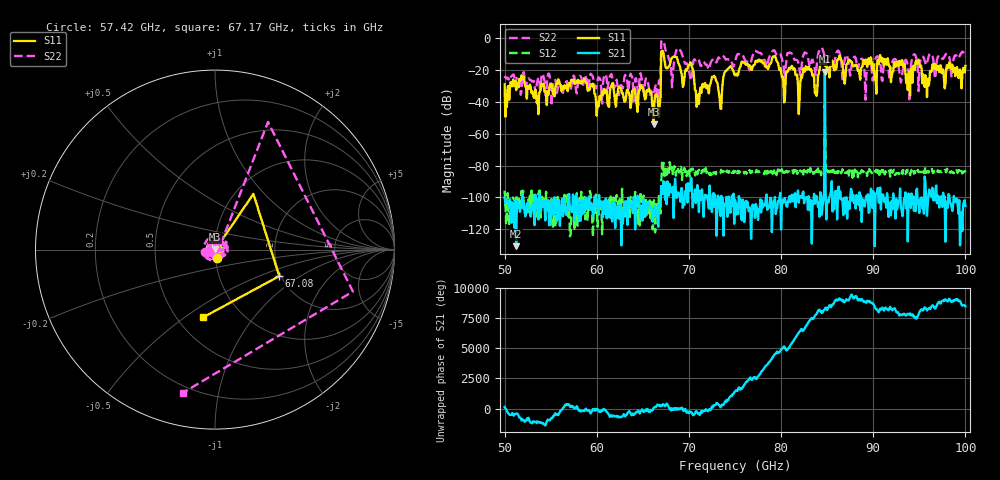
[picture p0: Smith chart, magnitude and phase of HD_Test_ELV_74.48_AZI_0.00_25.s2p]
! 11/25/2026 9:19:33 AM
! C:\ANRITSUVNA\TEMP\TEMP.S2P
! CHANNEL.1
! TR.MEASUREMENT
! RAW.DATA
# HZ S RI R 50.0
! FREQ.HZ  S11RE  S11IM  S21RE  S21IM  S12RE  S12IM  S22RE  S22IM
!; PortSelection: Port_12
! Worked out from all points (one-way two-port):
!   601 points, 50 GHz to 100 GHz, reference 50 ohm
!   highest |S21| = -21.29 dB at 84.75 GHz (marker M1); lowest = -130.5 dB at 51.25 GHz (marker M2)
!   lowest |S11| = -54.3 dB at 66.17 GHz (marker M3), VSWR 1.00, Z = 50.1 + j0.152 ohm
!   |S11| at or under -10 dB: start of sweep to 67 GHz; 67.24 GHz to end of sweep
!   |S22| runs from -42.6 to -1.8 dB; largest |S21 - S12| = 0.078
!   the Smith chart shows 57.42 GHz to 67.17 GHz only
!   S11 on the Smith chart (normalised r, x): 57.42 GHz: 1.02, -0.09; 67.08 GHz: 1.96, -0.68; 67.17 GHz: 0.67, -0.59
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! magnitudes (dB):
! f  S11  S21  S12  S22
! 50 GHz  -29.2  -100.0  -95.7  -25.4
! 51.25 GHz  -32.8  -130.5  -98.9  -27.1
! 57.42 GHz  -26.3  -98.1  -105.3  -25.2
! 58.42 GHz  -27.2  -110.6  -101.7  -29.0
! 60.17 GHz  -43.2  -111.0  -101.3  -24.8
! 61.67 GHz  -28.7  -115.0  -103.8  -24.5
! 66.17 GHz  -54.3  -108.3  -102.6  -35.4
! 66.67 GHz  -41.9  -118.3  -112.2  -32.1
! 67.08 GHz  -8.2  -95.2  -78.2  -1.9
! 67.17 GHz  -8.3  -97.8  -82.6  -1.8
! 70.17 GHz  -15.5  -94.5  -83.4  -25.7
! 70.92 GHz  -40.7  -92.3  -85.6  -13.3
! 75 GHz  -23.7  -101.4  -83.9  -15.0
! 79.25 GHz  -11.8  -104.7  -83.2  -7.9
! 80.25 GHz  -27.6  -103.1  -84.6  -17.7
! 83.42 GHz  -23.8  -103.1  -82.3  -13.8
! 84.75 GHz  -17.7  -21.3  -42.1  -11.7
! 91.67 GHz  -16.7  -112.1  -84.2  -20.5
! 93.75 GHz  -32.8  -127.4  -82.7  -17.3
! 94.83 GHz  -15.0  -103.7  -82.7  -20.3
! 95.83 GHz  -37.2  -111.4  -83.5  -15.9
! 100 GHz  -17.7  -105.3  -84.3  -12.2
